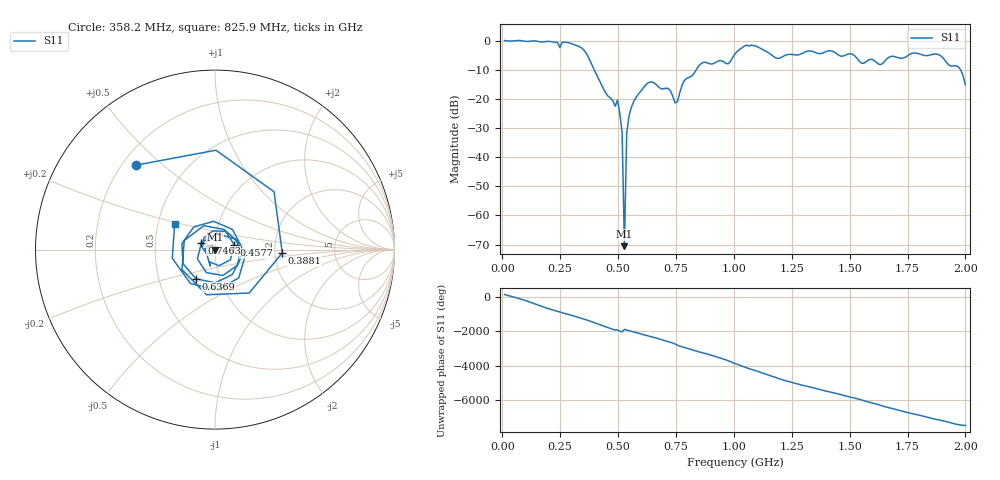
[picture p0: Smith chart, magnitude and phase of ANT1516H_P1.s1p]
!Created with skrf (http://scikit-rf.org).
# Hz S RI R 50.0
!freq ReS11 ImS11
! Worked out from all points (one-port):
!   201 points, 10 MHz to 2 GHz, reference 50 ohm
!   lowest |S11| = -70.6 dB at 527.4 MHz (marker M1), VSWR 1.00, Z = 50 - j0.0293 ohm
!   |S11| at or under -10 dB: 396.7 MHz to 837.9 MHz (441.2 MHz wide, 71.5 % of centre); 1.979 GHz to end of sweep
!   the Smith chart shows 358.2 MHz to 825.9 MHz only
!   S11 on the Smith chart (normalised r, x): 358.2 MHz: 0.26, +0.41; 388.1 MHz: 2.20, -0.10; 457.8 MHz: 1.24, +0.07; 636.9 MHz: 0.77, -0.26; 746.3 MHz: 0.86, +0.07; 825.9 MHz: 0.61, +0.19
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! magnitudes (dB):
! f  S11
! 10 MHz  0.0
! 258.8 MHz  -0.6
! 358.2 MHz  -3.8
! 388.1 MHz  -8.5
! 457.8 MHz  -19.2
! 487.6 MHz  -22.5
! 497.6 MHz  -20.4
! 507.5 MHz  -25.0
! 517.5 MHz  -31.4
! 527.4 MHz  -70.6
! 537.4 MHz  -31.9
! 547.3 MHz  -25.8
! 636.9 MHz  -14.2
! 716.5 MHz  -16.4
! 746.3 MHz  -21.4
! 756.2 MHz  -21.0
! 786.1 MHz  -13.7
! 825.9 MHz  -11.5
! 1.005 GHz  -4.6
! 1.075 GHz  -1.6
! 1.184 GHz  -6.0
! 1.254 GHz  -4.8
! 1.502 GHz  -4.5
! 1.632 GHz  -8.3
! 1.751 GHz  -5.2
! 1.891 GHz  -5.0
! 1.97 GHz  -9.0
! 2 GHz  -15.2
